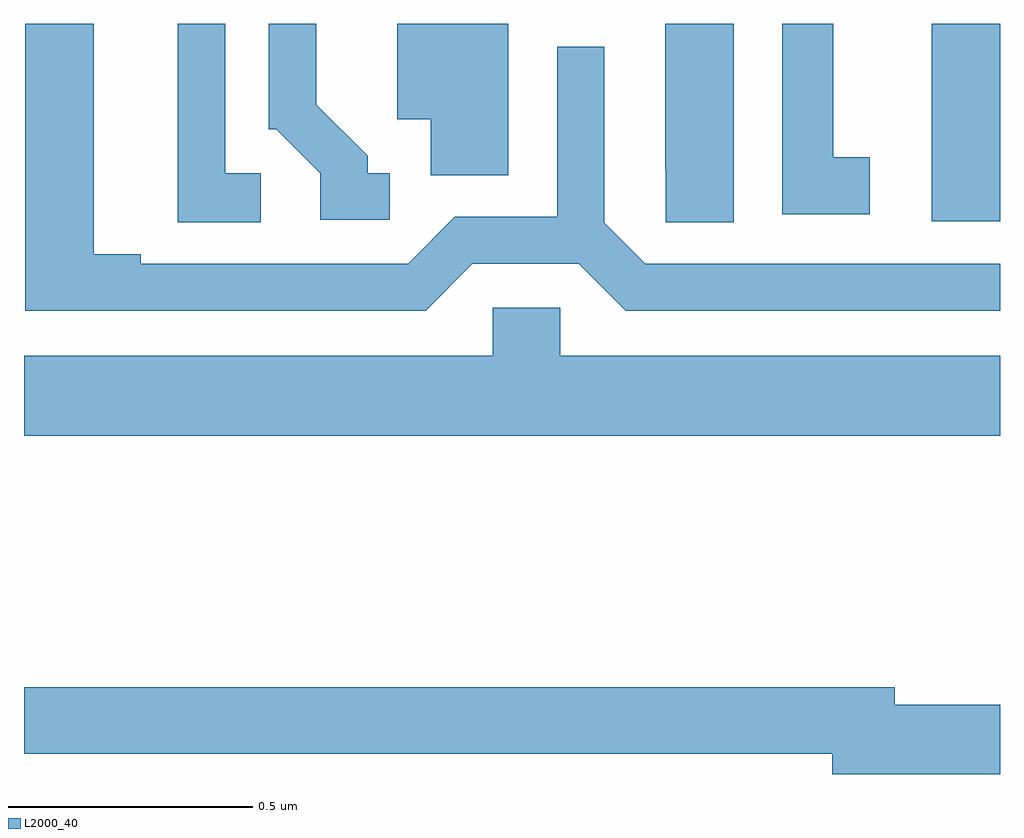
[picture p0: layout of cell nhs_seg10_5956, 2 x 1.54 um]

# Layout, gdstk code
import gdstk
lib = gdstk.Library(unit=1e-6, precision=1e-09)
def R(c, l, rs):  # rectangles x0, y0, x1, y1
    for r in rs: c.add(gdstk.rectangle(r[:2], r[2:], *l))
def P(c, l, *ps):  # polygons
    for p in ps: c.add(gdstk.Polygon(p, *l))
L2000_40 = (2000, 40)

nhs_seg10_5956 = lib.new_cell('nhs_seg10_5956')
R(nhs_seg10_5956, L2000_40, [(186.86,1294.095,187,1294.5)])
P(nhs_seg10_5956, L2000_40, [(185.485,1294.194),(185.412,1294.194),(185.412,1294.5),(185.315,1294.5),(185.315,1294.093),(185.485,1294.093)],
  [(185.919,1294.008),(186.137,1294.008),(186.233,1293.912),(187,1293.912),(187,1294.008),(186.273,1294.008),(186.189,1294.092),(186.189,1294.453),(186.093,1294.453),(186.093,1294.104),(185.883,1294.104),(185.787,1294.008),(185.239,1294.008),(185.239,1294.028),(185.143,1294.028),(185.143,1294.5),(185.003,1294.5),(185.003,1293.912),(185.823,1293.912)],
  [(186.454,1294.5),(186.314,1294.5),(186.314,1294.201),(186.315,1294.201),(186.315,1294.093),(186.454,1294.093)],
  [(185.992,1294.5),(185.765,1294.5),(185.765,1294.304),(185.834,1294.304),(185.834,1294.189),(185.992,1294.189)],
  [(185.749,1294.194),(185.704,1294.194),(185.704,1294.229),(185.599,1294.334),(185.599,1294.5),(185.502,1294.5),(185.502,1294.284),(185.517,1294.284),(185.607,1294.194),(185.607,1294.098),(185.749,1294.098)],
  [(186.733,1294.226),(186.658,1294.226),(186.658,1294.5),(186.554,1294.5),(186.554,1294.11),(186.733,1294.11)],
  [(187,1293.82),(186.099,1293.82),(186.099,1293.918),(185.961,1293.918),(185.961,1293.82),(185,1293.82),(185,1293.656),(187,1293.656)],
  [(187,1293.104),(186.784,1293.104),(186.784,1293.14),(185,1293.14),(185,1293.004),(186.656,1293.004),(186.656,1292.962),(187,1292.962)])

lib.write_gds('nhs_seg10_5956.gds')
